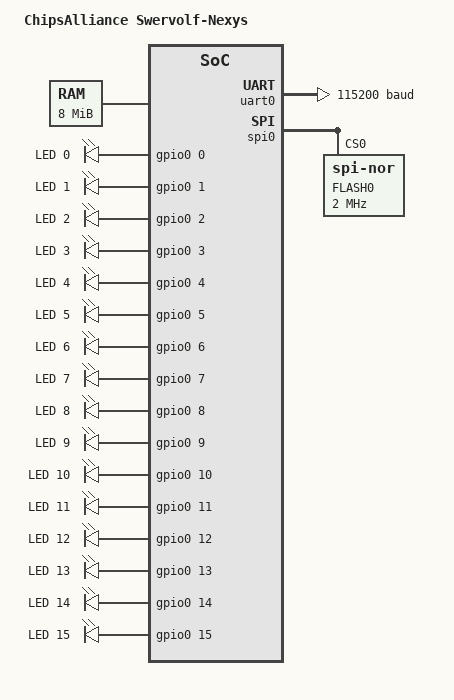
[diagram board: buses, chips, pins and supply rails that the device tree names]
/* SPDX-License-Identifier: Apache-2.0 */

/dts-v1/;

#include <riscv32-swerv.dtsi>

/ {
	model = "ChipsAlliance Swervolf-Nexys";
	compatible = "ChipsAlliance,Swervolf-Nexys";
	aliases {
		led0 = &led_0;
	};

	chosen {
		zephyr,console = &uart0;
		zephyr,shell-uart = &uart0;
		zephyr,sram = &sram;
	};

	sram: memory@0 {
		compatible = "mmio-sram";
		reg = <0x00000000 0x00800000>;
	};
	leds {
		compatible = "gpio-leds";
		led_0: led_0 {
			gpios = <&gpio0 0 GPIO_ACTIVE_HIGH>;
			label = "LED 0";
		};
		led_1: led_1 {
			gpios = <&gpio0 1 GPIO_ACTIVE_HIGH>;
			label = "LED 1";
		};
		led_2: led_2 {
			gpios = <&gpio0 2 GPIO_ACTIVE_HIGH>;
			label = "LED 2";
		};
		led_3: led_3 {
			gpios = <&gpio0 3 GPIO_ACTIVE_HIGH>;
			label = "LED 3";
		};
		led_4: led_4 {
			gpios = <&gpio0 4 GPIO_ACTIVE_HIGH>;
			label = "LED 4";
		};
		led_5: led_5 {
			gpios = <&gpio0 5 GPIO_ACTIVE_HIGH>;
			label = "LED 5";
		};
		led_6: led_6 {
			gpios = <&gpio0 6 GPIO_ACTIVE_HIGH>;
			label = "LED 6";
		};
		led_7: led_7 {
			gpios = <&gpio0 7 GPIO_ACTIVE_HIGH>;
			label = "LED 7";
		};
		led_8: led_8 {
			gpios = <&gpio0 8 GPIO_ACTIVE_HIGH>;
			label = "LED 8";
		};
		led_9: led_9 {
			gpios = <&gpio0 9 GPIO_ACTIVE_HIGH>;
			label = "LED 9";
		};
		led_10: led_10 {
			gpios = <&gpio0 10 GPIO_ACTIVE_HIGH>;
			label = "LED 10";
		};
		led_11: led_11 {
			gpios = <&gpio0 11 GPIO_ACTIVE_HIGH>;
			label = "LED 11";
		};
		led_12: led_12 {
			gpios = <&gpio0 12 GPIO_ACTIVE_HIGH>;
			label = "LED 12";
		};
		led_13: led_13 {
			gpios = <&gpio0 13 GPIO_ACTIVE_HIGH>;
			label = "LED 13";
		};
		led_14: led_14 {
			gpios = <&gpio0 14 GPIO_ACTIVE_HIGH>;
			label = "LED 14";
		};
		led_15: led_15 {
			gpios = <&gpio0 15 GPIO_ACTIVE_HIGH>;
			label = "LED 15";
		};
	};

};

&gpio0 {
	status = "okay";
};
&uart0 {
	status = "okay";
	current-speed = <115200>;
	clock-frequency = <50000000>;
};

&spi0 {
	status = "okay";

	flash0: flash@0 {
		compatible = "jedec,spi-nor";
		label = "FLASH0";
		jedec-id = [01 20 18];
		size = <0x1000000>;
		reg = <0>;
		spi-max-frequency = <2000000>;
	};
};
